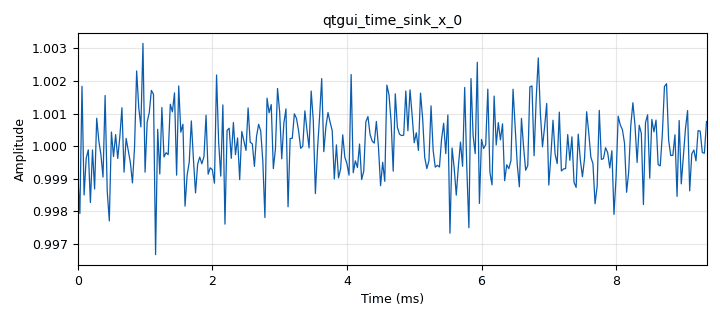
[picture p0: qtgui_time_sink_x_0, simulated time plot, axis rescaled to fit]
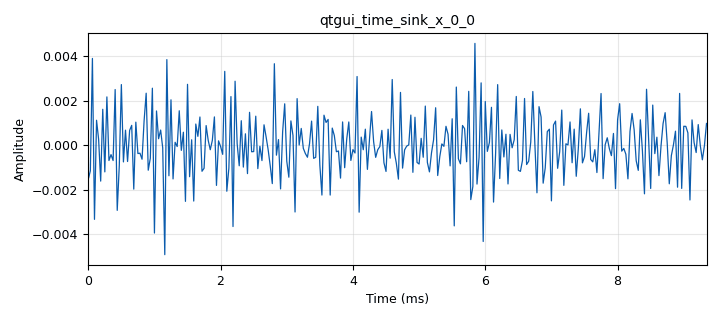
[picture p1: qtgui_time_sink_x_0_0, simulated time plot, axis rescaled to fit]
options:
  parameters:
    author: molan
    generate_options: qt_gui
    id: ESTADISTICA_RUIDO
    output_language: python
    title: Not titled yet
  states: {}

blocks:
- name: samp_rate
  id: variable
  parameters:
    value: '32000'
  states: {}
- name: analog_noise_source_x_0
  id: analog_noise_source_x
  parameters:
    amp: '0.001'
    noise_type: analog.GR_GAUSSIAN
    seed: '0'
    type: float
  states: {}
- name: blocks_add_xx_0
  id: blocks_add_xx
  parameters:
    type: float
  states: {}
- name: blocks_throttle2_0
  id: blocks_throttle2
  parameters:
    samples_per_second: samp_rate
    type: float
  states: {}
- name: blocks_vector_source_x_0
  id: blocks_vector_source_x
  parameters:
    repeat: 'True'
    type: float
    vector: (1, 1, 1)
  states: {}
- name: epy_block_0_0
  id: epy_block
  parameters:
    _source_code: |-
      import numpy as np
      from gnuradio import gr

      class blk(gr.sync_block):

          def __init__(self):  
              gr.sync_block.__init__(
                  self,
                  name='e_Diff',   
                  in_sig=[np.float32],
                  out_sig=[np.float32]
              ) # <-- El paréntesis de cierre va aquí

              # Memoria para guardar la última muestra del bloque de datos anterior
              self.muestra_anterior = 0.0

          def work(self, input_items, output_items):
              x = input_items[0]   # Señal de entrada
              y0 = output_items[0] # Señal de salida diferencial
              
              if len(x) == 0:
                  return 0

              # Para derivar, insertamos la última muestra del paquete anterior al inicio
              x_completo = np.insert(x, 0, self.muestra_anterior)
              
              # np.diff calcula la diferencia entre elementos adyacentes: x[n] - x[n-1]
              y0[:] = np.diff(x_completo)
              
              # Guardamos la última muestra actual para usarla en el siguiente ciclo
              self.muestra_anterior = x[-1]
              
              return len(y0) # <-- Corregido: len(y0)
  states: {}
- name: qtgui_time_sink_x_0
  id: qtgui_time_sink_x
  parameters:
    size: '300'
    srate: samp_rate
    type: float
  states: {}
- name: qtgui_time_sink_x_0_0
  id: qtgui_time_sink_x
  parameters:
    size: '300'
    srate: samp_rate
    type: float
  states: {}

connections:
- [analog_noise_source_x_0, '0', blocks_add_xx_0, '1']
- [blocks_add_xx_0, '0', epy_block_0_0, '0']
- [blocks_add_xx_0, '0', qtgui_time_sink_x_0, '0']
- [blocks_throttle2_0, '0', qtgui_time_sink_x_0_0, '0']
- [blocks_vector_source_x_0, '0', blocks_add_xx_0, '0']
- [epy_block_0_0, '0', blocks_throttle2_0, '0']

metadata:
  file_format: 1
  grc_version: 3.10.12.0
